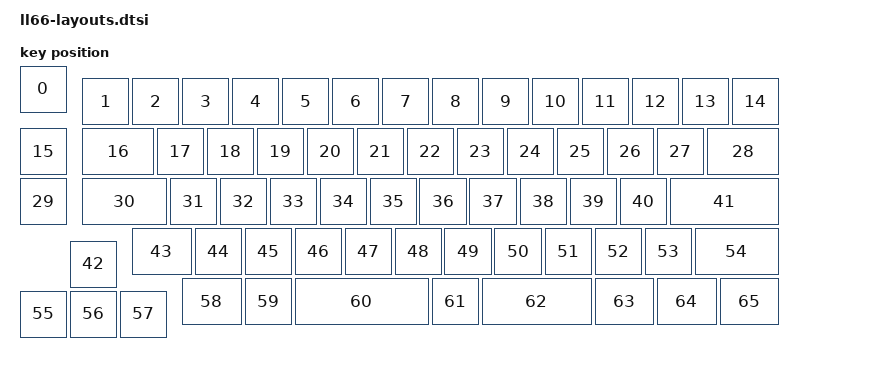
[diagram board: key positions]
#include <physical_layouts.dtsi>

/ {
    physical_layout_ll66: physical_layout_ll66 {
        compatible = "zmk,physical-layout";
        display-name = "LL66";
        keys  //                     w   h    x    y     rot    rx    ry
            = <&key_physical_attrs 100 100    0    0       0     0     0>
            , <&key_physical_attrs 100 100  125   25       0   125    25>
            , <&key_physical_attrs 100 100  225   25       0   225    25>
            , <&key_physical_attrs 100 100  325   25       0   325    25>
            , <&key_physical_attrs 100 100  425   25       0   425    25>
            , <&key_physical_attrs 100 100  525   25       0   525    25>
            , <&key_physical_attrs 100 100  625   25       0   625    25>
            , <&key_physical_attrs 100 100  725   25       0   725    25>
            , <&key_physical_attrs 100 100  825   25       0   825    25>
            , <&key_physical_attrs 100 100  925   25       0   925    25>
            , <&key_physical_attrs 100 100 1025   25       0  1025    25>
            , <&key_physical_attrs 100 100 1125   25       0  1125    25>
            , <&key_physical_attrs 100 100 1225   25       0  1225    25>
            , <&key_physical_attrs 100 100 1325   25       0  1325    25>
            , <&key_physical_attrs 100 100 1425   25       0  1425    25>
            , <&key_physical_attrs 100 100    0  125       0     0   125>
            , <&key_physical_attrs 150 100  125  125       0   125   125>
            , <&key_physical_attrs 100 100  275  125       0   275   125>
            , <&key_physical_attrs 100 100  375  125       0   375   125>
            , <&key_physical_attrs 100 100  475  125       0   475   125>
            , <&key_physical_attrs 100 100  575  125       0   575   125>
            , <&key_physical_attrs 100 100  675  125       0   675   125>
            , <&key_physical_attrs 100 100  775  125       0   775   125>
            , <&key_physical_attrs 100 100  875  125       0   875   125>
            , <&key_physical_attrs 100 100  975  125       0   975   125>
            , <&key_physical_attrs 100 100 1075  125       0  1075   125>
            , <&key_physical_attrs 100 100 1175  125       0  1175   125>
            , <&key_physical_attrs 100 100 1275  125       0  1275   125>
            , <&key_physical_attrs 150 100 1375  125       0  1375   125>
            , <&key_physical_attrs 100 100    0  225       0     0   225>
            , <&key_physical_attrs 175 100  125  225       0   125   225>
            , <&key_physical_attrs 100 100  300  225       0   300   225>
            , <&key_physical_attrs 100 100  400  225       0   400   225>
            , <&key_physical_attrs 100 100  500  225       0   500   225>
            , <&key_physical_attrs 100 100  600  225       0   600   225>
            , <&key_physical_attrs 100 100  700  225       0   700   225>
            , <&key_physical_attrs 100 100  800  225       0   800   225>
            , <&key_physical_attrs 100 100  900  225       0   900   225>
            , <&key_physical_attrs 100 100 1000  225       0  1000   225>
            , <&key_physical_attrs 100 100 1100  225       0  1100   225>
            , <&key_physical_attrs 100 100 1200  225       0  1200   225>
            , <&key_physical_attrs 225 100 1300  225       0  1300   225>
            , <&key_physical_attrs 100 100  100  350       0   100   350>
            , <&key_physical_attrs 125 100  225  325       0   225   325>
            , <&key_physical_attrs 100 100  350  325       0   350   325>
            , <&key_physical_attrs 100 100  450  325       0   450   325>
            , <&key_physical_attrs 100 100  550  325       0   550   325>
            , <&key_physical_attrs 100 100  650  325       0   650   325>
            , <&key_physical_attrs 100 100  750  325       0   750   325>
            , <&key_physical_attrs 100 100  850  325       0   850   325>
            , <&key_physical_attrs 100 100  950  325       0   950   325>
            , <&key_physical_attrs 100 100 1050  325       0  1050   325>
            , <&key_physical_attrs 100 100 1150  325       0  1150   325>
            , <&key_physical_attrs 100 100 1250  325       0  1250   325>
            , <&key_physical_attrs 175 100 1350  325       0  1350   325>
            , <&key_physical_attrs 100 100    0  450       0     0   450>
            , <&key_physical_attrs 100 100  100  450       0   100   450>
            , <&key_physical_attrs 100 100  200  450       0   200   450>
            , <&key_physical_attrs 125 100  325  425       0   325   425>
            , <&key_physical_attrs 100 100  450  425       0   450   425>
            , <&key_physical_attrs 275 100  550  425       0   550   425>
            , <&key_physical_attrs 100 100  825  425       0   825   425>
            , <&key_physical_attrs 225 100  925  425       0   925   425>
            , <&key_physical_attrs 125 100 1150  425       0  1150   425>
            , <&key_physical_attrs 125 100 1275  425       0  1275   425>
            , <&key_physical_attrs 125 100 1400  425       0  1400   425>
            ;
    };
};
